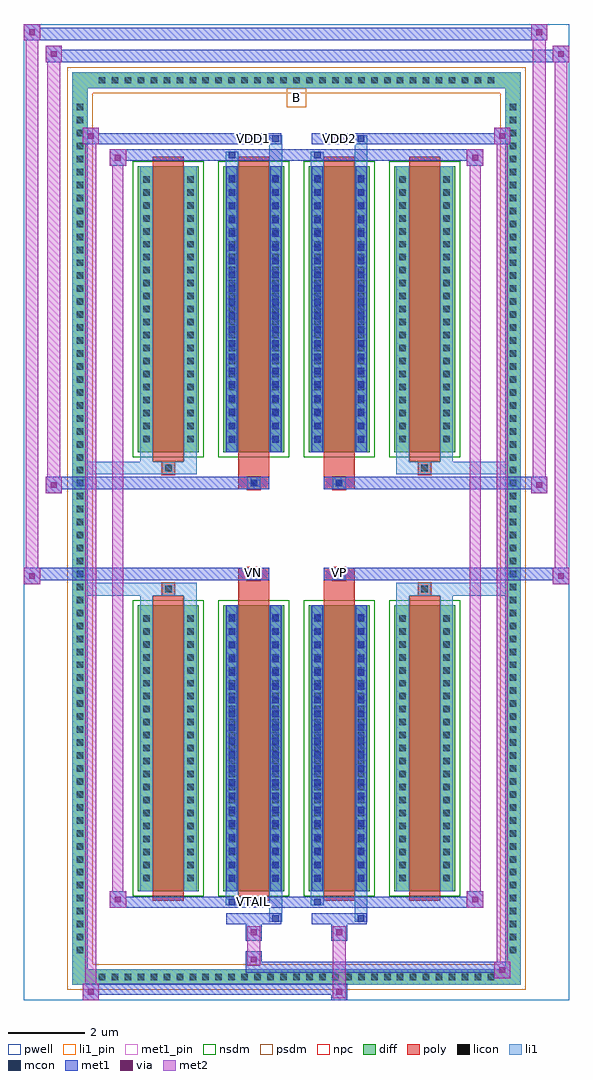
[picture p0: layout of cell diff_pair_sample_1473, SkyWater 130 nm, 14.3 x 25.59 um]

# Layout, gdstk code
import gdstk
lib = gdstk.Library(unit=1e-6, precision=5e-09)
def R(c, l, rs):  # rectangles x0, y0, x1, y1
    for r in rs: c.add(gdstk.rectangle(r[:2], r[2:], *l))
def A(c, l, x, y, w, h, nx, ny, dx, dy):  # array of equal rectangles
    R(c, l, [(x+i*dx, y+j*dy, x+i*dx+w, y+j*dy+h) for i in range(nx) for j in range(ny)])
def P(c, l, *ps):  # polygons
    for p in ps: c.add(gdstk.Polygon(p, *l))
pwell = (64, 44)
diff = (65, 20)
poly = (66, 20)
licon = (66, 44)
li1_pin = (67, 16)
li1 = (67, 20)
mcon = (67, 44)
met1_pin = (68, 16)
met1 = (68, 20)
via = (68, 44)
met2 = (69, 20)
nsdm = (93, 44)
psdm = (94, 20)
npc = (95, 20)

diff_pair_sample_1473 = lib.new_cell('diff_pair_sample_1473')
R(diff_pair_sample_1473, pwell, [(-7.15,-12.36,7.15,13.23), (-4.47,-10.55,-0.01,-0.825), (0.01,-10.55,4.47,-0.825), (-4.47,0.825,-0.01,10.55), (0.01,0.825,4.47,10.55)])
A(diff_pair_sample_1473, diff, -5.305, -11.96, 0.41, 0.41, 31, 2, 0.34, 23.51)
A(diff_pair_sample_1473, diff, -5.88, -11.255, 0.41, 0.41, 1, 66, 0, 0.34)
A(diff_pair_sample_1473, diff, 5.47, -11.255, 0.41, 0.41, 1, 66, 0, 0.34)
A(diff_pair_sample_1473, diff, -4.16, -9.505, 1.6, 7.5, 4, 2, 2.24, 11.51)
R(diff_pair_sample_1473, diff, [(-5.305,-11.96,5.305,-11.55), (-5.88,-11.255,-5.47,11.255), (5.47,-11.255,5.88,11.255), (-5.305,11.55,5.305,11.96)])
P(diff_pair_sample_1473, diff, [(5.88,11.96),(-5.88,11.96),(-5.88,-11.55),(-5.47,-11.55),(-5.47,11.55),(5.47,11.55),(5.47,-11.55),(-5.47,-11.55),(-5.88,-11.55),(-5.88,-11.96),(5.88,-11.96)])
A(diff_pair_sample_1473, poly, -3.77, -9.755, 0.82, 8, 4, 2, 2.24, 11.51)
R(diff_pair_sample_1473, poly, [(-3.525,-1.755,-3.195,-1.425), (-3.525,-1.755,-3.195,-1.425), (-1.53,-1.755,-0.71,-1.355), (0.71,-1.755,1.53,-1.355), (3.195,-1.755,3.525,-1.425), (3.195,-1.755,3.525,-1.425), (-1.53,-1.355,-0.71,-1.025), (-1.285,-1.355,-0.955,-1.025), (0.71,-1.355,1.53,-1.025), (0.955,-1.355,1.285,-1.025), (-1.53,1.025,-0.71,1.355), (-1.285,1.025,-0.955,1.355), (0.71,1.025,1.53,1.355), (0.955,1.025,1.285,1.355), (-1.53,1.355,-0.71,1.755), (0.71,1.355,1.53,1.755), (-3.525,1.425,-3.195,1.755), (-3.525,1.425,-3.195,1.755), (3.195,1.425,3.525,1.755), (3.195,1.425,3.525,1.755)])
A(diff_pair_sample_1473, licon, -5.185, -11.84, 0.17, 0.17, 31, 2, 0.34, 23.51)
A(diff_pair_sample_1473, licon, -5.76, -11.135, 0.17, 0.17, 1, 66, 0, 0.34)
A(diff_pair_sample_1473, licon, 5.59, -11.135, 0.17, 0.17, 1, 66, 0, 0.34)
A(diff_pair_sample_1473, licon, -4.02, -9.24, 0.17, 0.17, 1, 21, 0, 0.34)
A(diff_pair_sample_1473, licon, -2.87, -9.24, 0.17, 0.17, 1, 21, 0, 0.34)
A(diff_pair_sample_1473, licon, -1.78, -9.24, 0.17, 0.17, 1, 21, 0, 0.34)
A(diff_pair_sample_1473, licon, -0.63, -9.24, 0.17, 0.17, 1, 21, 0, 0.34)
A(diff_pair_sample_1473, licon, 0.46, -9.24, 0.17, 0.17, 1, 21, 0, 0.34)
A(diff_pair_sample_1473, licon, 1.61, -9.24, 0.17, 0.17, 1, 21, 0, 0.34)
A(diff_pair_sample_1473, licon, 2.7, -9.24, 0.17, 0.17, 1, 21, 0, 0.34)
A(diff_pair_sample_1473, licon, 3.85, -9.24, 0.17, 0.17, 1, 21, 0, 0.34)
A(diff_pair_sample_1473, licon, -4.02, 2.27, 0.17, 0.17, 1, 21, 0, 0.34)
A(diff_pair_sample_1473, licon, -2.87, 2.27, 0.17, 0.17, 1, 21, 0, 0.34)
A(diff_pair_sample_1473, licon, -1.78, 2.27, 0.17, 0.17, 1, 21, 0, 0.34)
A(diff_pair_sample_1473, licon, -0.63, 2.27, 0.17, 0.17, 1, 21, 0, 0.34)
A(diff_pair_sample_1473, licon, 0.46, 2.27, 0.17, 0.17, 1, 21, 0, 0.34)
A(diff_pair_sample_1473, licon, 1.61, 2.27, 0.17, 0.17, 1, 21, 0, 0.34)
A(diff_pair_sample_1473, licon, 2.7, 2.27, 0.17, 0.17, 1, 21, 0, 0.34)
A(diff_pair_sample_1473, licon, 3.85, 2.27, 0.17, 0.17, 1, 21, 0, 0.34)
R(diff_pair_sample_1473, licon, [(-3.445,-1.675,-3.275,-1.505), (3.275,-1.675,3.445,-1.505), (-1.205,-1.275,-1.035,-1.105), (1.035,-1.275,1.205,-1.105), (-1.205,1.105,-1.035,1.275), (1.035,1.105,1.205,1.275), (-3.445,1.505,-3.275,1.675), (3.275,1.505,3.445,1.675)])
R(diff_pair_sample_1473, li1_pin, [(-0.25,11.05,0.25,11.55)])
A(diff_pair_sample_1473, li1, -5.265, -11.92, 0.33, 0.33, 31, 2, 0.34, 23.51)
A(diff_pair_sample_1473, li1, -5.84, -11.215, 0.33, 0.33, 1, 66, 0, 0.34)
A(diff_pair_sample_1473, li1, 5.51, -11.215, 0.33, 0.33, 1, 66, 0, 0.34)
A(diff_pair_sample_1473, li1, -4.1, -9.32, 0.33, 0.33, 1, 21, 0, 0.34)
A(diff_pair_sample_1473, li1, -2.95, -9.32, 0.33, 0.33, 1, 21, 0, 0.34)
A(diff_pair_sample_1473, li1, -1.86, -9.32, 0.33, 0.33, 1, 21, 0, 0.34)
A(diff_pair_sample_1473, li1, -0.71, -9.32, 0.33, 0.33, 1, 21, 0, 0.34)
A(diff_pair_sample_1473, li1, 0.38, -9.32, 0.33, 0.33, 1, 21, 0, 0.34)
A(diff_pair_sample_1473, li1, 1.53, -9.32, 0.33, 0.33, 1, 21, 0, 0.34)
A(diff_pair_sample_1473, li1, 2.62, -9.32, 0.33, 0.33, 1, 21, 0, 0.34)
A(diff_pair_sample_1473, li1, 3.77, -9.32, 0.33, 0.33, 1, 21, 0, 0.34)
A(diff_pair_sample_1473, li1, -1.78, -9.26, 0.17, 0.17, 1, 20, 0, 0.36)
A(diff_pair_sample_1473, li1, -0.63, -9.26, 0.17, 0.17, 1, 20, 0, 0.36)
A(diff_pair_sample_1473, li1, 0.46, -9.26, 0.17, 0.17, 1, 20, 0, 0.36)
A(diff_pair_sample_1473, li1, 1.61, -9.26, 0.17, 0.17, 1, 20, 0, 0.36)
A(diff_pair_sample_1473, li1, -4.1, 2.19, 0.33, 0.33, 1, 21, 0, 0.34)
A(diff_pair_sample_1473, li1, -2.95, 2.19, 0.33, 0.33, 1, 21, 0, 0.34)
A(diff_pair_sample_1473, li1, -1.86, 2.19, 0.33, 0.33, 1, 21, 0, 0.34)
A(diff_pair_sample_1473, li1, -0.71, 2.19, 0.33, 0.33, 1, 21, 0, 0.34)
A(diff_pair_sample_1473, li1, 0.38, 2.19, 0.33, 0.33, 1, 21, 0, 0.34)
A(diff_pair_sample_1473, li1, 1.53, 2.19, 0.33, 0.33, 1, 21, 0, 0.34)
A(diff_pair_sample_1473, li1, 2.62, 2.19, 0.33, 0.33, 1, 21, 0, 0.34)
A(diff_pair_sample_1473, li1, 3.77, 2.19, 0.33, 0.33, 1, 21, 0, 0.34)
A(diff_pair_sample_1473, li1, -1.78, 2.25, 0.17, 0.17, 1, 20, 0, 0.36)
A(diff_pair_sample_1473, li1, -0.63, 2.25, 0.17, 0.17, 1, 20, 0, 0.36)
A(diff_pair_sample_1473, li1, 0.46, 2.25, 0.17, 0.17, 1, 20, 0, 0.36)
A(diff_pair_sample_1473, li1, 1.61, 2.25, 0.17, 0.17, 1, 20, 0, 0.36)
R(diff_pair_sample_1473, li1, [(-5.88,-11.96,-5.47,-11.55), (-5.88,-11.96,-5.47,-11.55), (-5.47,-11.96,5.47,-11.55), (5.47,-11.96,5.88,-11.55), (5.47,-11.96,5.88,-11.55), (-5.88,-11.55,-5.47,11.55), (5.47,-11.55,5.88,11.55), (-0.71,-10.31,-0.38,-9.505), (-0.63,-10.31,-0.46,-10.14), (1.53,-10.31,1.86,-9.505), (1.61,-10.31,1.78,-10.14), (-1.86,-9.88,-1.53,-9.505), (-1.78,-9.88,-1.61,-9.71), (0.38,-9.88,0.71,-9.505), (0.46,-9.88,0.63,-9.71), (-4.1,-9.505,-3.77,-2.005), (-2.95,-9.505,-2.62,-2.005), (-1.86,-9.505,-1.53,-2.005), (-0.71,-9.505,-0.38,-2.005), (0.38,-9.505,0.71,-2.005), (1.53,-9.505,1.86,-2.005), (2.62,-9.505,2.95,-2.005), (3.77,-9.505,4.1,-2.005), (-1.78,-9.26,-1.61,-2.25), (-0.63,-9.26,-0.46,-2.25), (0.46,-9.26,0.63,-2.25), (1.61,-9.26,1.78,-2.25), (-4.1,-2.005,-3.77,-1.425), (-2.95,-2.005,-2.62,-1.425), (2.62,-2.005,2.95,-1.425), (3.77,-2.005,4.1,-1.425), (-5.88,-1.755,-3.525,-1.425), (-4.1,-1.755,-3.525,-1.425), (-3.525,-1.755,-3.195,-1.425), (-3.195,-1.755,-2.62,-1.425), (2.62,-1.755,3.195,-1.425), (3.195,-1.755,3.525,-1.425), (3.195,-1.755,5.88,-1.425), (3.525,-1.755,4.1,-1.425), (-1.285,-1.355,-0.955,-1.025), (0.955,-1.355,1.285,-1.025), (-1.285,1.025,-0.955,1.355), (0.955,1.025,1.285,1.355), (-5.88,1.425,-3.525,1.755), (-4.1,1.425,-3.525,1.755), (-4.1,1.425,-3.77,2.005), (-3.525,1.425,-3.195,1.755), (-3.195,1.425,-2.62,1.755), (-2.95,1.425,-2.62,2.005), (2.62,1.425,3.195,1.755), (2.62,1.425,2.95,2.005), (3.195,1.425,3.525,1.755), (3.195,1.425,5.88,1.755), (3.525,1.425,4.1,1.755), (3.77,1.425,4.1,2.005), (-4.1,2.005,-3.77,9.505), (-2.95,2.005,-2.62,9.505), (-1.86,2.005,-1.53,9.505), (-0.71,2.005,-0.38,9.505), (0.38,2.005,0.71,9.505), (1.53,2.005,1.86,9.505), (2.62,2.005,2.95,9.505), (3.77,2.005,4.1,9.505), (-1.78,2.25,-1.61,9.26), (-0.63,2.25,-0.46,9.26), (0.46,2.25,0.63,9.26), (1.61,2.25,1.78,9.26), (-1.86,9.505,-1.53,9.88), (-0.71,9.505,-0.38,10.31), (0.38,9.505,0.71,9.88), (1.53,9.505,1.86,10.31), (-1.78,9.71,-1.61,9.88), (0.46,9.71,0.63,9.88), (-0.63,10.14,-0.46,10.31), (1.61,10.14,1.78,10.31), (-5.88,11.55,-5.47,11.96), (-5.88,11.55,-5.47,11.96), (-5.47,11.55,5.47,11.96), (5.47,11.55,5.88,11.96), (5.47,11.55,5.88,11.96)])
A(diff_pair_sample_1473, mcon, -1.78, -9.26, 0.17, 0.17, 1, 20, 0, 0.36)
A(diff_pair_sample_1473, mcon, -0.63, -9.26, 0.17, 0.17, 1, 20, 0, 0.36)
A(diff_pair_sample_1473, mcon, 0.46, -9.26, 0.17, 0.17, 1, 20, 0, 0.36)
A(diff_pair_sample_1473, mcon, 1.61, -9.26, 0.17, 0.17, 1, 20, 0, 0.36)
A(diff_pair_sample_1473, mcon, -1.78, 2.25, 0.17, 0.17, 1, 20, 0, 0.36)
A(diff_pair_sample_1473, mcon, -0.63, 2.25, 0.17, 0.17, 1, 20, 0, 0.36)
A(diff_pair_sample_1473, mcon, 0.46, 2.25, 0.17, 0.17, 1, 20, 0, 0.36)
A(diff_pair_sample_1473, mcon, 1.61, 2.25, 0.17, 0.17, 1, 20, 0, 0.36)
R(diff_pair_sample_1473, mcon, [(-0.63,-10.31,-0.46,-10.14), (1.61,-10.31,1.78,-10.14), (-1.78,-9.88,-1.61,-9.71), (0.46,-9.88,0.63,-9.71), (-1.205,-1.275,-1.035,-1.105), (1.035,-1.275,1.205,-1.105), (-1.205,1.105,-1.035,1.275), (1.035,1.105,1.205,1.275), (-1.78,9.71,-1.61,9.88), (0.46,9.71,0.63,9.88), (-0.63,10.14,-0.46,10.31), (1.61,10.14,1.78,10.31)])
R(diff_pair_sample_1473, met1_pin, [(-1.255,-9.92,-0.985,-9.65), (-1.255,-1.295,-0.985,-1.025), (0.985,-1.295,1.255,-1.025), (-1.255,10.1,-0.985,10.37), (0.985,10.1,1.255,10.37)])
A(diff_pair_sample_1473, met1, -1.84, -9.32, 0.29, 0.29, 1, 20, 0, 0.36)
A(diff_pair_sample_1473, met1, -0.69, -9.32, 0.29, 0.29, 1, 20, 0, 0.36)
A(diff_pair_sample_1473, met1, 0.4, -9.32, 0.29, 0.29, 1, 20, 0, 0.36)
A(diff_pair_sample_1473, met1, 1.55, -9.32, 0.29, 0.29, 1, 20, 0, 0.36)
A(diff_pair_sample_1473, met1, -1.84, 2.19, 0.29, 0.29, 1, 20, 0, 0.36)
A(diff_pair_sample_1473, met1, -0.69, 2.19, 0.29, 0.29, 1, 20, 0, 0.36)
A(diff_pair_sample_1473, met1, 0.4, 2.19, 0.29, 0.29, 1, 20, 0, 0.36)
A(diff_pair_sample_1473, met1, 1.55, 2.19, 0.29, 0.29, 1, 20, 0, 0.36)
R(diff_pair_sample_1473, met1, [(-5.61,-12.36,-5.18,-11.93), (0.905,-12.36,1.335,-11.93), (-5.61,-12.22,1.335,-11.93), (5.18,-11.79,5.61,-11.36), (-1.335,-11.65,5.61,-11.36), (-1.335,-11.51,-0.905,-11.08), (-1.335,-10.8,-0.905,-10.37), (0.905,-10.8,1.335,-10.37), (-1.84,-10.37,-0.4,-10.08), (-0.69,-10.37,-0.4,-10.08), (0.4,-10.37,1.84,-10.08), (1.55,-10.37,1.84,-10.08), (-4.9,-9.94,-4.47,-9.51), (-4.9,-9.94,-1.84,-9.65), (-1.84,-9.94,-1.55,-9.65), (-1.84,-9.94,-0.4,-9.65), (-0.4,-9.94,0.4,-9.65), (0.4,-9.94,0.69,-9.65), (0.4,-9.94,1.84,-9.65), (1.84,-9.94,4.9,-9.65), (4.47,-9.94,4.9,-9.51), (-1.84,-9.505,-1.55,-2.005), (-0.69,-9.505,-0.4,-2.005), (0.4,-9.505,0.69,-2.005), (1.55,-9.505,1.84,-2.005), (-7.15,-1.455,-6.72,-1.025), (6.72,-1.455,7.15,-1.025), (-7.15,-1.355,-0.71,-1.025), (-1.53,-1.355,-0.71,-1.025), (0.71,-1.355,1.53,-1.025), (0.71,-1.355,7.15,-1.025), (-1.265,-1.335,-0.975,-1.045), (0.975,-1.335,1.265,-1.045), (-6.58,0.925,-6.15,1.355), (6.15,0.925,6.58,1.355), (-6.58,1.025,-1.53,1.355), (-1.53,1.025,-0.71,1.355), (0.71,1.025,1.53,1.355), (1.53,1.025,6.58,1.355), (-1.265,1.045,-0.975,1.335), (0.975,1.045,1.265,1.335), (-1.84,2.005,-1.55,9.505), (-0.69,2.005,-0.4,9.505), (0.4,2.005,0.69,9.505), (1.55,2.005,1.84,9.505), (-4.9,9.51,-4.47,9.94), (4.47,9.51,4.9,9.94), (-4.9,9.65,-1.84,9.94), (-1.84,9.65,-1.55,9.94), (-1.84,9.65,-0.4,9.94), (-0.4,9.65,0.4,9.94), (0.4,9.65,0.69,9.94), (0.4,9.65,1.84,9.94), (1.84,9.65,4.9,9.94), (-5.61,10.08,-5.18,10.51), (-5.61,10.08,-1.84,10.37), (-1.84,10.08,-0.4,10.37), (-0.69,10.08,-0.4,10.37), (0.4,10.08,1.84,10.37), (1.55,10.08,1.84,10.37), (1.84,10.08,5.61,10.37), (5.18,10.08,5.61,10.51), (-6.58,12.23,-6.15,12.66), (-6.58,12.23,-4.47,12.56), (-4.47,12.23,4.47,12.56), (4.47,12.23,7.15,12.56), (6.72,12.23,7.15,12.66), (-7.15,12.8,-6.72,13.23), (-7.15,12.8,-4.47,13.13), (-4.47,12.8,4.47,13.13), (4.47,12.8,6.58,13.13), (6.15,12.8,6.58,13.23)])
R(diff_pair_sample_1473, via, [(-5.47,-12.22,-5.32,-12.07), (1.045,-12.22,1.195,-12.07), (5.32,-11.65,5.47,-11.5), (-1.195,-11.37,-1.045,-11.22), (-1.195,-10.66,-1.045,-10.51), (1.045,-10.66,1.195,-10.51), (-4.76,-9.8,-4.61,-9.65), (4.61,-9.8,4.76,-9.65), (-7.01,-1.315,-6.86,-1.165), (6.86,-1.315,7.01,-1.165), (-6.44,1.065,-6.29,1.215), (6.29,1.065,6.44,1.215), (-4.76,9.65,-4.61,9.8), (4.61,9.65,4.76,9.8), (-5.47,10.22,-5.32,10.37), (5.32,10.22,5.47,10.37), (-6.44,12.37,-6.29,12.52), (6.86,12.37,7.01,12.52), (-7.01,12.94,-6.86,13.09), (6.29,12.94,6.44,13.09)])
R(diff_pair_sample_1473, met2, [(-5.61,-12.36,-5.18,-11.93), (-5.54,-12.36,-5.25,10.51), (-5.25,-12.36,-5.18,-11.93), (-5.56,-12.31,-5.23,-11.98), (0.955,-12.31,1.285,-11.98), (0.955,-11.98,1.285,-10.75), (5.18,-11.79,5.61,-11.36), (5.25,-11.79,5.54,10.51), (5.54,-11.79,5.61,-11.36), (5.23,-11.74,5.56,-11.41), (-1.285,-11.46,-0.955,-11.13), (-1.285,-11.13,-0.955,-10.75), (-1.285,-10.75,-0.955,-10.42), (0.955,-10.75,1.285,-10.42), (-4.9,-9.94,-4.47,-9.51), (-4.83,-9.94,-4.54,9.94), (-4.54,-9.94,-4.47,-9.51), (4.47,-9.94,4.9,-9.51), (4.54,-9.94,4.83,9.94), (4.83,-9.94,4.9,-9.51), (-4.85,-9.89,-4.52,-9.56), (4.52,-9.89,4.85,-9.56), (-7.15,-1.455,-6.72,-1.025), (-7.1,-1.455,-6.77,13.23), (-6.77,-1.455,-6.72,-1.025), (6.72,-1.455,7.15,-1.025), (6.77,-1.455,7.1,12.66), (7.1,-1.455,7.15,-1.025), (-7.1,-1.405,-6.77,-1.075), (6.77,-1.405,7.1,-1.075), (-6.58,0.925,-6.15,1.355), (-6.53,0.925,-6.2,12.66), (-6.2,0.925,-6.15,1.355), (6.15,0.925,6.58,1.355), (6.2,0.925,6.53,13.23), (6.53,0.925,6.58,1.355), (-6.53,0.975,-6.2,1.305), (6.2,0.975,6.53,1.305), (-4.9,9.51,-4.47,9.94), (-4.54,9.51,-4.47,9.94), (4.47,9.51,4.9,9.94), (4.83,9.51,4.9,9.94), (-4.85,9.56,-4.52,9.89), (4.52,9.56,4.85,9.89), (-5.61,10.08,-5.18,10.51), (-5.25,10.08,-5.18,10.51), (5.18,10.08,5.61,10.51), (5.54,10.08,5.61,10.51), (-5.56,10.13,-5.23,10.46), (5.23,10.13,5.56,10.46), (-6.58,12.23,-6.15,12.66), (-6.2,12.23,-6.15,12.66), (6.72,12.23,7.15,12.66), (7.1,12.23,7.15,12.66), (-6.53,12.28,-6.2,12.61), (6.77,12.28,7.1,12.61), (-7.15,12.8,-6.72,13.23), (-6.77,12.8,-6.72,13.23), (6.15,12.8,6.58,13.23), (6.53,12.8,6.58,13.23), (-7.1,12.85,-6.77,13.18), (6.2,12.85,6.53,13.18)])
A(diff_pair_sample_1473, nsdm, -4.29, -9.635, 1.86, 7.76, 4, 2, 2.24, 11.51)
P(diff_pair_sample_1473, psdm, [(6.01,12.09),(-6.01,12.09),(-6.01,-11.42),(-5.34,-11.42),(-5.34,11.42),(5.34,11.42),(5.34,-11.42),(-5.34,-11.42),(-6.01,-11.42),(-6.01,-12.09),(6.01,-12.09)])
R(diff_pair_sample_1473, npc, [(-3.545,-1.775,-3.175,-1.405), (3.175,-1.775,3.545,-1.405), (-1.305,-1.375,-0.935,-1.005), (0.935,-1.375,1.305,-1.005), (-1.305,1.005,-0.935,1.375), (0.935,1.005,1.305,1.375), (-3.545,1.405,-3.175,1.775), (3.175,1.405,3.545,1.775)])
diff_pair_sample_1473.add(gdstk.Label('VTAIL', (-1.12,-9.785), layer=68, texttype=5))
diff_pair_sample_1473.add(gdstk.Label('VN', (-1.12,-1.16), layer=68, texttype=5))
diff_pair_sample_1473.add(gdstk.Label('VP', (1.12,-1.16), layer=68, texttype=5))
diff_pair_sample_1473.add(gdstk.Label('B', (0,11.3), layer=67, texttype=5))
diff_pair_sample_1473.add(gdstk.Label('VDD2', (1.12,10.235), layer=68, texttype=5))
diff_pair_sample_1473.add(gdstk.Label('VDD1', (-1.12,10.235), layer=68, texttype=5))

lib.write_gds('diff_pair_sample_1473.gds')
